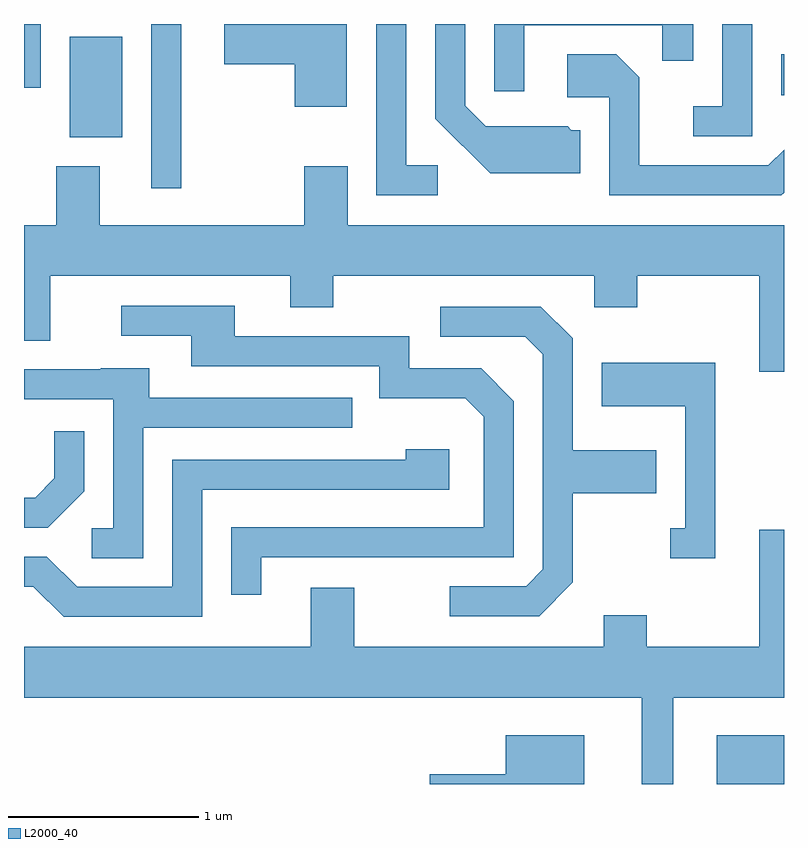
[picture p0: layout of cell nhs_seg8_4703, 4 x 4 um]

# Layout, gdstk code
import gdstk
lib = gdstk.Library(unit=1e-6, precision=1e-09)
def R(c, l, rs):  # rectangles x0, y0, x1, y1
    for r in rs: c.add(gdstk.rectangle(r[:2], r[2:], *l))
def P(c, l, *ps):  # polygons
    for p in ps: c.add(gdstk.Polygon(p, *l))
L2000_40 = (2000, 40)

nhs_seg8_4703 = lib.new_cell('nhs_seg8_4703')
R(nhs_seg8_4703, L2000_40, [(329.256,1900.342,329.611,1900.599), (326.281,1903.478,326.439,1904.342), (325.851,1903.746,326.129,1904.274), (329.596,1903.966,329.611,1904.184), (325.611,1904.006,325.699,1904.342)])
P(nhs_seg8_4703, L2000_40, [(329.444,1904.342),(329.286,1904.342),(329.286,1903.909),(329.133,1903.909),(329.133,1903.751),(329.444,1903.751)],
  [(327.309,1904.342),(326.666,1904.342),(326.666,1904.131),(327.036,1904.131),(327.036,1903.906),(327.309,1903.906)],
  [(328.539,1903.784),(328.492,1903.784),(328.472,1903.804),(328.042,1903.804),(327.934,1903.912),(327.934,1904.342),(327.776,1904.342),(327.776,1903.844),(328.064,1903.556),(328.539,1903.556)],
  [(327.788,1903.599),(327.624,1903.599),(327.624,1904.342),(327.466,1904.342),(327.466,1903.441),(327.788,1903.441)],
  [(328.244,1904.336),(328.971,1904.336),(328.971,1904.148),(329.134,1904.148),(329.134,1904.342),(328.086,1904.342),(328.086,1903.988),(328.244,1903.988)],
  [(329.611,1903.455),(329.611,1903.681),(329.529,1903.599),(328.849,1903.599),(328.849,1904.062),(328.727,1904.184),(328.471,1904.184),(328.471,1903.956),(328.691,1903.956),(328.691,1903.441),(329.597,1903.441)],
  [(329.611,1903.284),(327.314,1903.284),(327.314,1903.594),(327.086,1903.594),(327.086,1903.284),(326.009,1903.284),(326.009,1903.594),(325.781,1903.594),(325.781,1903.284),(325.611,1903.284),(325.611,1902.676),(325.749,1902.676),(325.749,1903.016),(327.011,1903.016),(327.011,1902.851),(327.239,1902.851),(327.239,1903.016),(328.611,1903.016),(328.611,1902.851),(328.839,1902.851),(328.839,1903.016),(329.481,1903.016),(329.481,1902.511),(329.611,1902.511)],
  [(326.859,1901.536),(328.189,1901.536),(328.189,1902.357),(328.017,1902.529),(327.639,1902.529),(327.639,1902.699),(326.719,1902.699),(326.719,1902.859),(326.123,1902.859),(326.123,1902.701),(326.491,1902.701),(326.491,1902.541),(327.481,1902.541),(327.481,1902.371),(327.934,1902.371),(328.031,1902.274),(328.031,1901.694),(326.701,1901.694),(326.701,1901.338),(326.859,1901.338)],
  [(328.499,1901.404),(328.499,1901.871),(328.939,1901.871),(328.939,1902.099),(328.499,1902.099),(328.499,1902.687),(328.332,1902.854),(327.803,1902.854),(327.803,1902.696),(328.249,1902.696),(328.341,1902.604),(328.341,1901.472),(328.254,1901.384),(327.853,1901.384),(327.853,1901.226),(328.322,1901.226)],
  [(329.249,1902.559),(328.651,1902.559),(328.651,1902.331),(329.091,1902.331),(329.091,1901.689),(329.013,1901.689),(329.013,1901.531),(329.249,1901.531)],
  [(326.239,1902.216),(327.338,1902.216),(327.338,1902.374),(326.269,1902.374),(326.269,1902.529),(326.015,1902.529),(326.015,1902.524),(325.611,1902.524),(325.611,1902.366),(326.081,1902.366),(326.081,1901.689),(325.968,1901.689),(325.968,1901.531),(326.239,1901.531)],
  [(325.929,1901.884),(325.929,1902.198),(325.771,1902.198),(325.771,1901.952),(325.669,1901.849),(325.611,1901.849),(325.611,1901.691),(325.737,1901.691)],
  [(326.549,1901.891),(327.849,1901.891),(327.849,1902.104),(327.621,1902.104),(327.621,1902.049),(326.391,1902.049),(326.391,1901.379),(325.892,1901.379),(325.732,1901.539),(325.611,1901.539),(325.611,1901.381),(325.659,1901.381),(325.819,1901.221),(326.549,1901.221)],
  [(329.029,1900.796),(329.611,1900.796),(329.611,1901.679),(329.481,1901.679),(329.481,1901.064),(328.889,1901.064),(328.889,1901.229),(328.661,1901.229),(328.661,1901.064),(327.349,1901.064),(327.349,1901.374),(327.121,1901.374),(327.121,1901.064),(325.611,1901.064),(325.611,1900.796),(328.861,1900.796),(328.861,1900.342),(329.029,1900.342)],
  [(328.559,1900.599),(328.146,1900.599),(328.146,1900.394),(327.746,1900.394),(327.746,1900.342),(328.559,1900.342)])

lib.write_gds('nhs_seg8_4703.gds')
